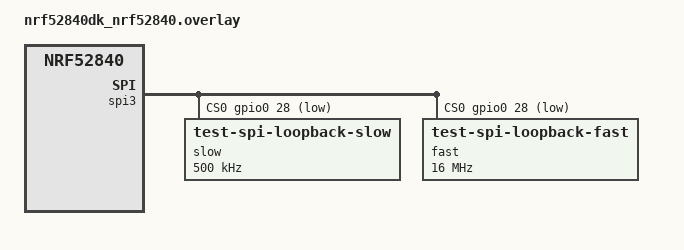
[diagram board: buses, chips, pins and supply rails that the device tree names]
/*
 * Copyright (c) 2022 Nordic Semiconductor ASA
 *
 * SPDX-License-Identifier: Apache-2.0
 */

&spi3 {
	overrun-character = <0x00>;
	rx-delay = <1>;
	cs-gpios = <&gpio0 28 GPIO_ACTIVE_LOW>;
	zephyr,pm-device-runtime-auto;
	slow@0 {
		compatible = "test-spi-loopback-slow";
		reg = <0>;
		spi-max-frequency = <500000>;
	};
	fast@0 {
		compatible = "test-spi-loopback-fast";
		reg = <0>;
		spi-max-frequency = <16000000>;
	};
};
